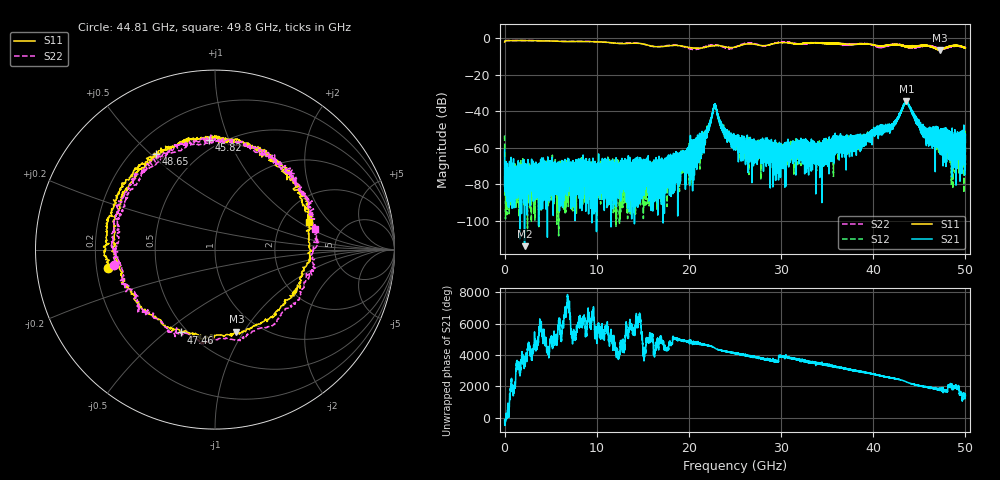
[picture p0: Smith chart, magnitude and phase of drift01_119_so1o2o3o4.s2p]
!Created with skrf (http://scikit-rf.org).
# Hz S RI R 50.0
!freq ReS11 ImS11 ReS21 ImS21 ReS12 ImS12 ReS22 ImS22
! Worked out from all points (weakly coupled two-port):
!   10001 points, 300 kHz to 50 GHz, reference 50 ohm
!   highest |S21| = -34.49 dB at 43.61 GHz (marker M1); lowest = -113.7 dB at 2.165 GHz (marker M2)
!   lowest |S11| = -6.5 dB at 47.21 GHz (marker M3), VSWR 2.79, Z = 39.5 - j46.4 ohm
!   |S11| at or under -10 dB: nowhere
!   |S22| runs from -6.4 to -1.4 dB; largest |S21 - S12| = 0.0042
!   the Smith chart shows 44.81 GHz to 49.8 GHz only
!   S11 on the Smith chart (normalised r, x): 44.81 GHz: 0.25, -0.08; 45.82 GHz: 0.44, +0.85; 47.46 GHz: 0.46, -0.57; 48.65 GHz: 0.30, +0.52; 49.8 GHz: 2.81, +1.26
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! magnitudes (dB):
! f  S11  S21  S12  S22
! 300 kHz  -2.2  -61.0  -53.2  -2.1
! 255.3 MHz  -1.4  -80.7  -73.6  -1.4
! 2.165 GHz  -1.4  -113.7  -77.6  -1.4
! 8.335 GHz  -1.9  -85.2  -69.9  -1.8
! 16.67 GHz  -4.8  -70.1  -78.2  -4.8
! 20.37 GHz  -5.5  -63.9  -77.5  -6.3
! 21.54 GHz  -5.3  -55.6  -55.1  -5.1
! 22.8 GHz  -4.3  -36.0  -36.5  -4.0
! 23.8 GHz  -4.7  -48.6  -51.2  -5.1
! 25 GHz  -4.9  -55.5  -55.4  -5.0
! 29.65 GHz  -2.7  -59.6  -66.4  -2.5
! 33.34 GHz  -2.6  -57.2  -60.8  -2.7
! 38.82 GHz  -3.3  -54.6  -54.0  -3.1
! 41.67 GHz  -3.9  -48.6  -48.4  -4.2
! 43.61 GHz  -4.8  -34.5  -35.2  -4.8
! 44.81 GHz  -4.4  -45.4  -46.1  -4.9
! 45.82 GHz  -4.3  -52.3  -51.8  -4.2
! 47.21 GHz  -6.5  -57.3  -54.3  -5.7
! 47.46 GHz  -6.0  -55.5  -55.7  -5.9
! 48.65 GHz  -4.1  -65.3  -56.5  -4.6
! 49.8 GHz  -5.2  -69.3  -59.1  -4.9
! 50 GHz  -5.4  -52.7  -69.4  -5.3
